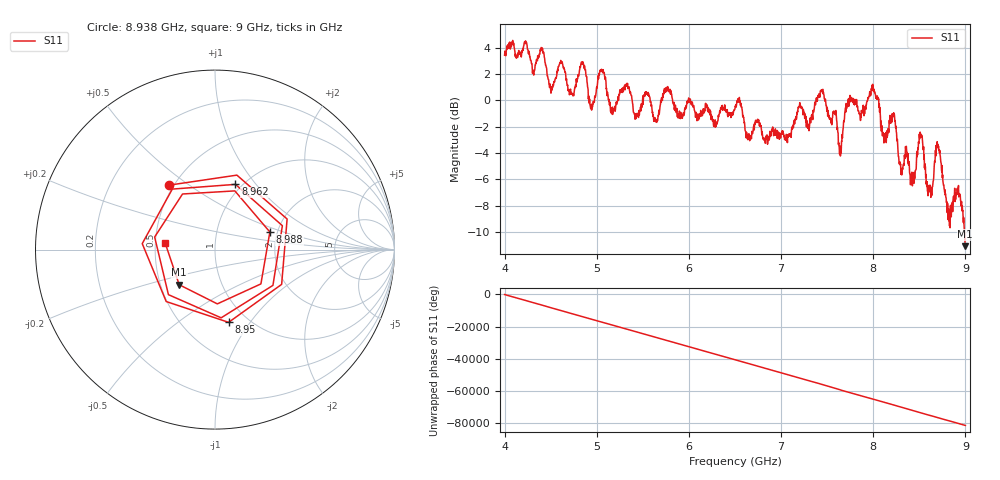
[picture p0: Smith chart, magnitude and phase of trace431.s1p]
! Created with skrf 1.8.0 (http://scikit-rf.org).
# Hz S RI R 50.0
!freq ReS11 ImS11
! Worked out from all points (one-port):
!   1601 points, 4 GHz to 9 GHz, reference 50 ohm
!   lowest |S11| = -11.1 dB at 8.997 GHz (marker M1), VSWR 1.78, Z = 31.2 - j13.3 ohm
!   |S11| at or under -10 dB: 8.991543 GHz to end of sweep
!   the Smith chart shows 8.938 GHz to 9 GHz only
!   S11 on the Smith chart (normalised r, x): 8.938 GHz: 0.47, +0.42; 8.95 GHz: 0.82, -0.80; 8.962 GHz: 0.93, +0.79; 8.988 GHz: 1.82, +0.40; 9 GHz: 0.56, +0.05
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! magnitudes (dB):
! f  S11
! 4 GHz  3.4
! 4.506 GHz  0.8
! 4.625 GHz  2.9
! 4.728 GHz  0.6
! 4.853 GHz  2.8
! 4.944 GHz  -0.7
! 5.05 GHz  2.3
! 5.162 GHz  -0.9
! 5.25 GHz  0.8
! 5.875 GHz  -1.3
! 6.5 GHz  -0.6
! 7.125 GHz  -2.0
! 7.438 GHz  0.8
! 7.644 GHz  -4.2
! 7.75 GHz  -0.1
! 8 GHz  0.8
! 8.375 GHz  -4.8
! 8.428 GHz  -5.6
! 8.522 GHz  -2.8
! 8.612 GHz  -6.6
! 8.7 GHz  -3.3
! 8.822 GHz  -9.2
! 8.938 GHz  -7.1
! 8.95 GHz  -7.7
! 8.962 GHz  -8.4
! 8.988 GHz  -9.9
! 8.997 GHz  -11.1
! 9 GHz  -11.0
